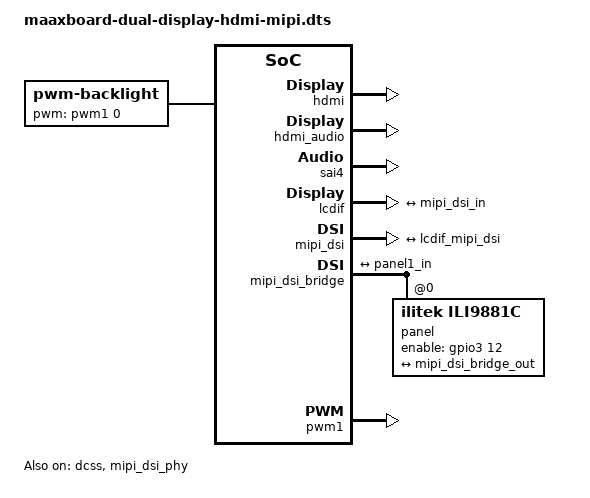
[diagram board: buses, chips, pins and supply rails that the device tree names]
/*
 * Copyright 2019 EMBEST
 *
 * This program is free software; you can redistribute it and/or
 * modify it under the terms of the GNU General Public License
 * as published by the Free Software Foundation; either version 2
 * of the License, or (at your option) any later version.
 *
 * This program is distributed in the hope that it will be useful,
 * but WITHOUT ANY WARRANTY; without even the implied warranty of
 * MERCHANTABILITY or FITNESS FOR A PARTICULAR PURPOSE.  See the
 * GNU General Public License for more details.
 */

#include "maaxboard.dtsi"
#include "maaxboard-extended-gpio.dtsi"

/ {
	backlight: backlight {
		compatible = "pwm-backlight";
		pwms = <&pwm1 0 40000 0>;
		brightness-levels = <0 8 32 64 96 128 160 192 224 255>;
		default-brightness-level = <8>;
		status = "disabled";
	};
};

&dcss {
	status = "okay";
	disp-dev = "hdmi_disp";
};

&hdmi {
	status = "okay";
};

&hdmi_audio {
	status = "okay";
};

&sai4 {
	status = "okay";
};

&iomuxc {
	imx8mq-evk {
		pinctrl_mipi_dsi_en: mipi_dsi_en {
			fsl,pins = <
				MX8MQ_IOMUXC_NAND_DATA06_GPIO3_IO12		0x16  /* DSI_EN */
			>;
		};

		pinctrl_ts_ft5426: ft5426_pinsgrp {
			fsl,pins = <
				MX8MQ_IOMUXC_NAND_DATA07_GPIO3_IO13		0x19  /* DSI_TS_nINT */
				MX8MQ_IOMUXC_GPIO1_IO04_GPIO1_IO4		0x19  /* DSI_TS_RST  */
			>;
		};

		pinctrl_pwm1: pwm1_grp {
			fsl,pins = <
				MX8MQ_IOMUXC_GPIO1_IO01_PWM1_OUT		0x06
			>;
		};
	};
};

&lcdif {
	status = "okay";
	max-res = <1280>, <1280>;

	assigned-clocks = <&clk IMX8MQ_CLK_LCDIF_PIXEL>,
			  <&clk IMX8MQ_VIDEO_PLL1_REF_SEL>,
			  <&clk IMX8MQ_VIDEO_PLL1>;
	assigned-clock-parents = <&clk IMX8MQ_VIDEO_PLL1_OUT>,
				 <&clk IMX8MQ_CLK_25M>;
	
	port@0 {
		lcdif_mipi_dsi: mipi-dsi-endpoint {
			remote-endpoint = <&mipi_dsi_in>;
		};
	};
};

&mipi_dsi_phy {
	status = "okay";
};

&mipi_dsi {
	/delete-property/ no_clk_reset;
	status = "okay";
	as_bridge;
	sync-pol = <1>;
	
	assigned-clocks = <&clk IMX8MQ_CLK_DSI_PHY_REF>,
			  <&clk IMX8MQ_CLK_DSI_CORE>,
			  <&clk IMX8MQ_VIDEO_PLL1_REF_SEL>,
			  <&clk IMX8MQ_VIDEO_PLL1>;
	assigned-clock-parents = <&clk IMX8MQ_VIDEO_PLL1_OUT>,
				 <&clk IMX8MQ_SYS1_PLL_266M>,
				 <&clk IMX8MQ_CLK_25M>;
	assigned-clock-rates = <24000000>,
			       <266000000>,
			       <0>,
			       <599999999>;

	port@1 {
		mipi_dsi_in: endpoint {
			remote-endpoint = <&lcdif_mipi_dsi>;
		};
	};
};

&mipi_dsi_bridge {
	/delete-property/ no_clk_reset;
    status = "okay";
	mode-skip-eot;
	mode-video;
	mode-video-burst;
	spwg;

	port@1 {
		mipi_dsi_bridge_out: endpoint {
			remote-endpoint = <&panel1_in>;
		};
	};

	panel@0 {
		compatible = "ilitek,ili9881c";
		reg = <0>;
		pinctrl-0 = <&pinctrl_mipi_dsi_en>;
		enable-gpio = <&gpio3 12 GPIO_ACTIVE_HIGH>;
		dsi-lanes = <2>;

		port {
			panel1_in: endpoint {
				remote-endpoint = <&mipi_dsi_bridge_out>;
			};
		};
	};
};

&pwm1 {
	pinctrl-names = "default";
	pinctrl-0 = <&pinctrl_pwm1>;
	status = "okay";
};

&backlight {
	status = "okay";
};

